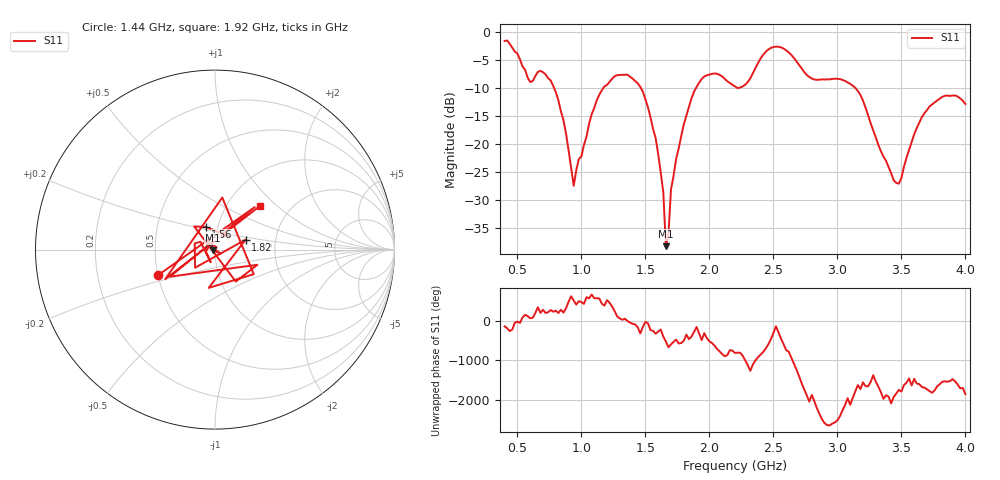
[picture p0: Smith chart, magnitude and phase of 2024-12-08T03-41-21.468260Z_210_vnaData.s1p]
!Created with skrf (http://scikit-rf.org).
# Hz S RI R 50.0
!freq ReS11 ImS11
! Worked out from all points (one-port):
!   181 points, 400 MHz to 4 GHz, reference 50 ohm
!   lowest |S11| = -38.2 dB at 1.66 GHz (marker M1), VSWR 1.03, Z = 48.9 - j0.442 ohm
!   |S11| at or under -10 dB: 786.5 MHz to 1.172 GHz (385.2 MHz wide, 39.3 % of centre); 1.465 GHz to 1.896 GHz (430.8 MHz wide, 25.6 % of centre); 3.141 GHz to end of sweep (the widest 3 of 4)
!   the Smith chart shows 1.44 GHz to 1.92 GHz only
!   S11 on the Smith chart (normalised r, x): 1.44 GHz: 0.50, -0.16; 1.56 GHz: 0.88, +0.23; 1.82 GHz: 1.40, +0.16; 1.92 GHz: 1.42, +0.79
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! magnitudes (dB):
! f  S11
! 400 MHz  -1.6
! 600 MHz  -8.9
! 760 MHz  -8.7
! 860 MHz  -15.7
! 940 MHz  -27.4
! 1.12 GHz  -12.2
! 1.3 GHz  -7.7
! 1.44 GHz  -9.2
! 1.56 GHz  -17.3
! 1.64 GHz  -28.6
! 1.66 GHz  -38.2
! 1.68 GHz  -36.0
! 1.7 GHz  -28.0
! 1.76 GHz  -20.8
! 1.82 GHz  -14.9
! 1.92 GHz  -9.1
! 2.04 GHz  -7.4
! 2.2 GHz  -9.7
! 2.48 GHz  -2.9
! 2.66 GHz  -4.7
! 2.8 GHz  -8.3
! 3.1 GHz  -9.3
! 3.18 GHz  -11.2
! 3.44 GHz  -26.4
! 3.48 GHz  -27.0
! 3.56 GHz  -21.0
! 3.72 GHz  -13.3
! 4 GHz  -12.9
